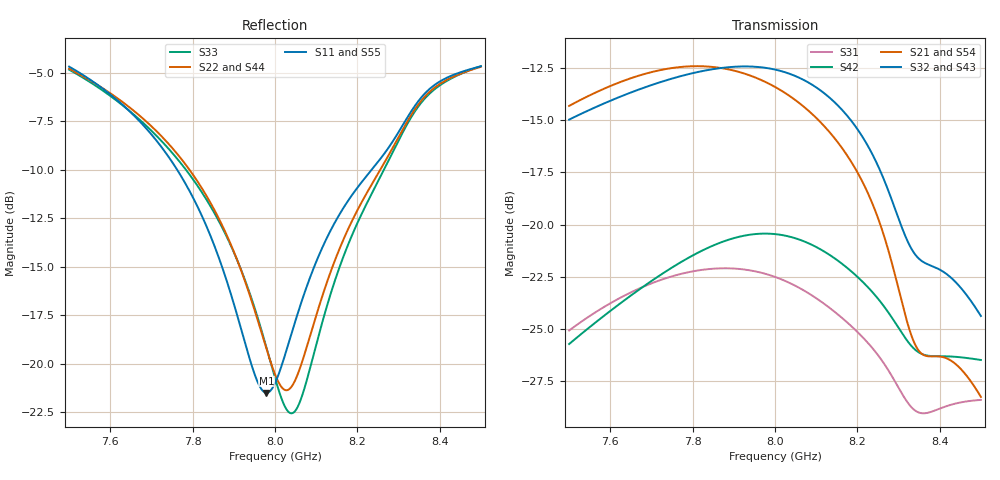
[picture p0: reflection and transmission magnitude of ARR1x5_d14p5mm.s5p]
! Touchstone file exported from HFSS 2025.1.0
!  File:  C:/Users/user/Documents/Ansoft/TFG_UWB-MIMO-Array.aedt
!  Generated:  02:04:18 PM Nov 20, 2026
!  Design:  ARR1x5_US3_PS6_dparam
!  Project:  TFG_UWB-MIMO-Array
!  Setup:  Setup_ch9
!  Solution:  Sweep_7p5_8p5
! Variables:
!  arr_d = 14.5mm
!  board_m = 13mm
!  board_x = 84mm
!  board_y = 26mm
!  cu_t = 0.035mm
!  line_w = 3.92mm
!  pad_xy = 22mm
!  pad_zn = 25mm
!  pad_zp = 33mm
!  par_L = 7.05mm
!  par_W = 11mm
!  par_yc = 0.615mm
!  par_z = 1.035mm
!  patch_L = 6.29mm
!  patch_W = 11.421266mm
!  sub_h = 2.07mm
!  tr_l = 6.6mm
!  tr_w = 0.8mm
!  u_Lu = 2.65mm
!  u_Wu = 4.4mm
!  u_t = 0.8mm
!  u_y0 = -0.7mm
# GHz S MA R 50.000000
! Terminal data exported
! Port[1] = P1
! Port[2] = P2
! Port[3] = P3
! Port[4] = P4
! Port[5] = P5
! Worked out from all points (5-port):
!   1001 points, 7.5 GHz to 8.5 GHz, reference 50 ohm
!   strongest paths, dB at 7.5 GHz, 7.75 GHz, 8 GHz, 8.25 GHz, 8.5 GHz:
!     S32: -15.0, -13.0, -12.6, -17.2, -24.4
!     S43: -15.0, -13.0, -12.6, -17.3, -24.6
!     S21: -14.3, -12.5, -13.4, -19.7, -28.3
!     S54: -14.4, -12.5, -13.4, -19.7, -28.3
!     S42: -25.7, -22.1, -20.5, -23.5, -26.5
!     S31: -25.1, -22.5, -22.5, -26.3, -28.4
!   lowest |S11| = -21.5 dB at 7.979 GHz (marker M1), VSWR 1.18, Z = 59 - j1.61 ohm
!   |S11| at or under -10 dB: 7.763 GHz to 8.234 GHz (471.6 MHz wide, 5.9 % of centre)
